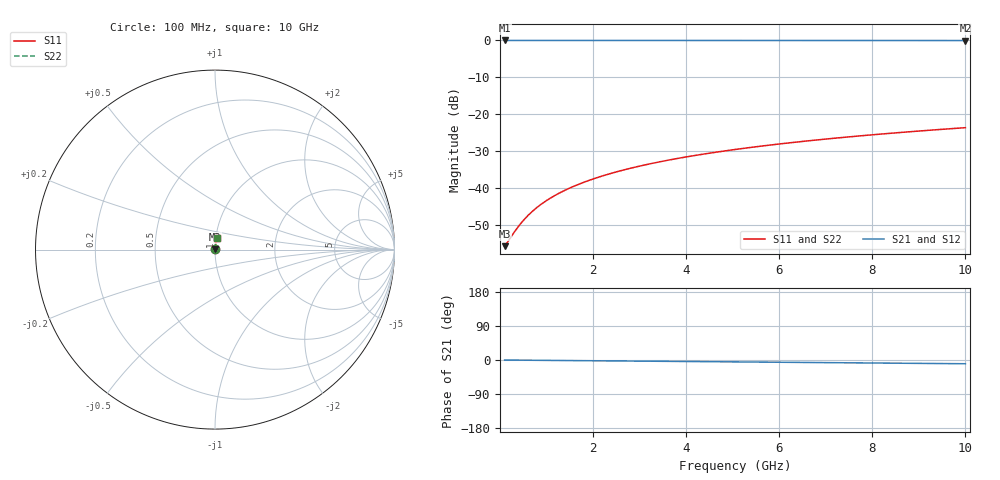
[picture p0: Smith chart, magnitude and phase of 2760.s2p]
# Hz S RI R 50.00
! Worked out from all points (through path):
!   100 points, 100 MHz to 10 GHz, reference 50 ohm
!   highest |S21| = -0.01 dB at 100 MHz (marker M1); lowest = 0.0 dB at 10 GHz (marker M2)
!   group delay of S21, straight-line fit = 2.75 ps
!   lowest |S11| = -55.8 dB at 100 MHz (marker M3), VSWR 1.00, Z = 50.1 + j0.0657 ohm
!   |S11| at or under -10 dB: start of sweep to end of sweep
!   |S22| runs from -55.8 to -23.7 dB; largest |S21 - S12| = 0
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1e8  0.00149 0.000656  0.9985 -0.00172  0.9985 -0.00172  0.00149 0.000656
2e8  0.0015 0.00131  0.9985 -0.00343  0.9985 -0.00343  0.0015 0.00131
3e8  0.00152 0.00197  0.9985 -0.00515  0.9985 -0.00515  0.00152 0.00197
4e8  0.00153 0.00262  0.9985 -0.00687  0.9985 -0.00687  0.00153 0.00262
5e8  0.00154 0.00328  0.9984 -0.00858  0.9984 -0.00858  0.00154 0.00328
6e8  0.00156 0.00393  0.9984 -0.0103  0.9984 -0.0103  0.00156 0.00393
7e8  0.00158 0.00459  0.9984 -0.012  0.9984 -0.012  0.00158 0.00459
8e8  0.0016 0.00524  0.9984 -0.0137  0.9984 -0.0137  0.0016 0.00524
1e9  0.00165 0.00655  0.9983 -0.0172  0.9983 -0.0172  0.00165 0.00655
1.2e9  0.0017 0.00786  0.9982 -0.0206  0.9982 -0.0206  0.0017 0.00786
1.5e9  0.0018 0.00983  0.9981 -0.0258  0.9981 -0.0258  0.0018 0.00983
1.8e9  0.00192 0.0118  0.9979 -0.0309  0.9979 -0.0309  0.00192 0.0118
2.1e9  0.00205 0.0138  0.9977 -0.0361  0.9977 -0.0361  0.00205 0.0138
2.5e9  0.00227 0.0164  0.9974 -0.0429  0.9974 -0.0429  0.00227 0.0164
2.9e9  0.00252 0.019  0.997 -0.0498  0.997 -0.0498  0.00252 0.019
3.4e9  0.00288 0.0222  0.9964 -0.0584  0.9964 -0.0584  0.00288 0.0222
4.2e9  0.00357 0.0274  0.9954 -0.0721  0.9954 -0.0721  0.00357 0.0274
5.1e9  0.00452 0.0333  0.9939 -0.0875  0.9939 -0.0875  0.00452 0.0333
5.9e9  0.00552 0.0384  0.9924 -0.1012  0.9924 -0.1012  0.00552 0.0384
6.7e9  0.00667 0.0436  0.9907 -0.1149  0.9907 -0.1149  0.00667 0.0436
8.4e9  0.00957 0.0544  0.9863 -0.1439  0.9863 -0.1439  0.00957 0.0544
1e10  0.0129 0.0644  0.9813 -0.1711  0.9813 -0.1711  0.0129 0.0644
